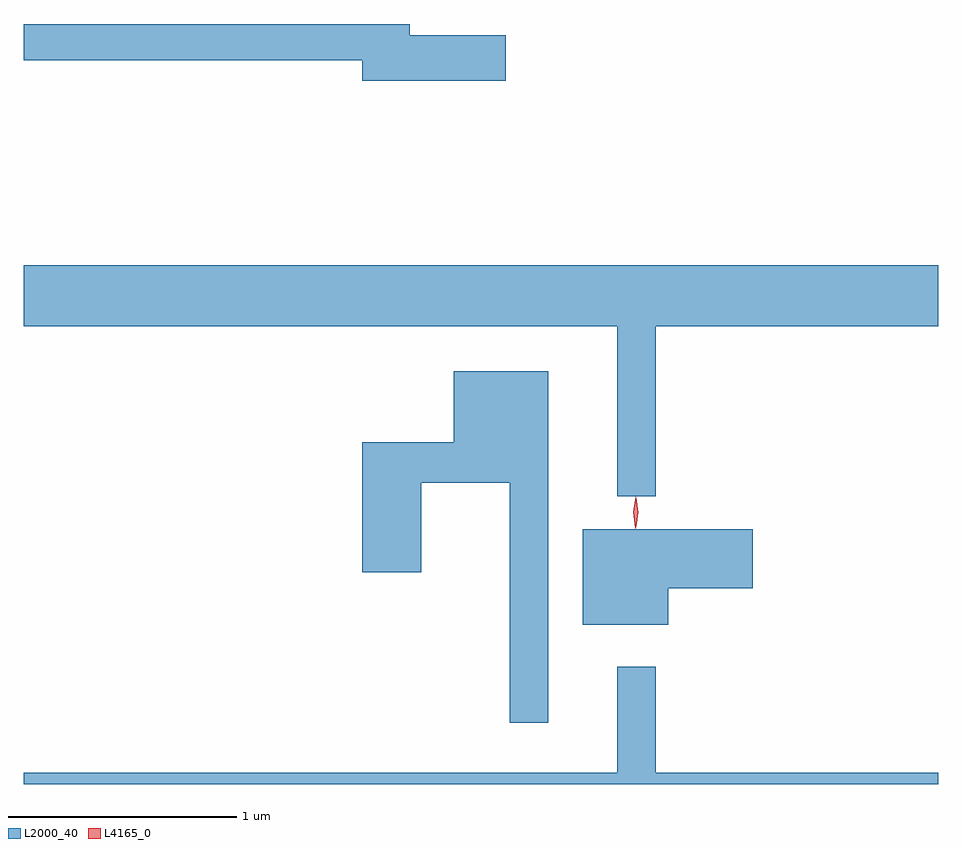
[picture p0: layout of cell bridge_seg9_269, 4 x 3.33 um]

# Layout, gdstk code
import gdstk
lib = gdstk.Library(unit=1e-6, precision=1e-09)
def P(c, l, *ps):  # polygons
    for p in ps: c.add(gdstk.Polygon(p, *l))
L2000_40 = (2000, 40)
L4165_0 = (4165, 0)

bridge_seg9_269 = lib.new_cell('bridge_seg9_269')
P(bridge_seg9_269, L2000_40, [(1010.654,2079.669),(1010.234,2079.669),(1010.234,2079.719),(1008.545,2079.719),(1008.545,2079.561),(1010.026,2079.561),(1010.026,2079.471),(1010.654,2079.471)],
  [(1011.309,2078.396),(1012.545,2078.396),(1012.545,2078.664),(1008.545,2078.664),(1008.545,2078.396),(1011.141,2078.396),(1011.141,2077.653),(1011.309,2077.653)],
  [(1010.839,2078.199),(1010.426,2078.199),(1010.426,2077.889),(1010.026,2077.889),(1010.026,2077.321),(1010.284,2077.321),(1010.284,2077.711),(1010.671,2077.711),(1010.671,2076.663),(1010.839,2076.663)],
  [(1011.364,2077.251),(1011.734,2077.251),(1011.734,2077.509),(1010.991,2077.509),(1010.991,2077.091),(1011.364,2077.091)],
  [(1012.545,2076.444),(1011.309,2076.444),(1011.309,2076.908),(1011.141,2076.908),(1011.141,2076.444),(1008.545,2076.444),(1008.545,2076.394),(1012.545,2076.394)])
P(bridge_seg9_269, L4165_0, [(1011.22,2077.514),(1011.22,2077.514),(1011.211,2077.582),(1011.221,2077.65),(1011.222,2077.65),(1011.222,2077.65),(1011.231,2077.582),(1011.221,2077.514)],
  [(1011.223,2077.52),(1011.214,2077.584),(1011.223,2077.646),(1011.224,2077.647),(1011.224,2077.646),(1011.233,2077.584),(1011.224,2077.52),(1011.224,2077.52)])

lib.write_gds('bridge_seg9_269.gds')
